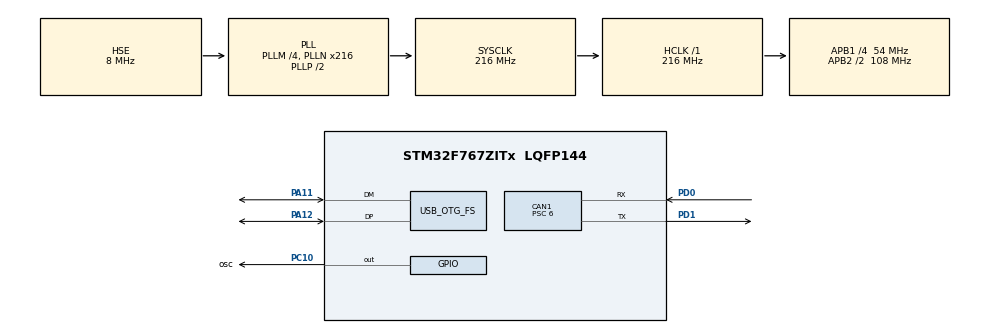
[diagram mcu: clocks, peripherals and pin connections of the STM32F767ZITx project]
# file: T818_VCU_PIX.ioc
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CAN1.BS1=CAN_BS1_15TQ
CAN1.BS2=CAN_BS2_2TQ
CAN1.CalculateBaudRate=500000
CAN1.CalculateTimeBit=2000
CAN1.CalculateTimeQuantum=111.11111111111111
CAN1.NART=ENABLE
CAN1.Prescaler=6
FREERTOS.INCLUDE_vTaskDelayUntil=1
FREERTOS.Tasks01=defaultTask,0,128,StartDefaultTask,Default,NULL,Dynamic,NULL,NULL;updateStateTask,2,1024,StartUpdateStateTask,Default,NULL,Static,updateStateTaskBuffer,updateStateTaskControlBlock;urbTxTask,3,256,StartUrbTxTask,Default,NULL,Static,urbTxTaskBuffer,urbTxTaskControlBlock
FREERTOS.configENABLE_FPU=1
FREERTOS.configUSE_NEWLIB_REENTRANT=1
Mcu.Family=STM32F7
Mcu.Name=STM32F767ZITx
Mcu.Package=LQFP144
NVIC.CAN1_RX0_IRQn=true\:5\:0\:false\:false\:true\:true\:true\:true\:true
NVIC.OTG_FS_IRQn=true\:5\:0\:false\:false\:true\:true\:false\:true\:true
NVIC.PriorityGroup=NVIC_PRIORITYGROUP_4
NVIC.TIM8_TRG_COM_TIM14_IRQn=true\:15\:0\:false\:false\:true\:false\:false\:true\:true
NVIC.TimeBase=TIM8_TRG_COM_TIM14_IRQn
NVIC.TimeBaseIP=TIM14
PA11.Mode=Host_Only
PA11.Signal=USB_OTG_FS_DM
PA12.Mode=Host_Only
PA12.Signal=USB_OTG_FS_DP
PC10.GPIO_Label=osc
PC10.GPIO_Speed=GPIO_SPEED_FREQ_VERY_HIGH
PC10.Signal=GPIO_Output
PD0.Mode=CAN_Activate
PD0.Signal=CAN1_RX
PD1.Mode=CAN_Activate
PD1.Signal=CAN1_TX
PH0/OSC_IN.Mode=HSE-External-Oscillator
PH0/OSC_IN.Signal=RCC_OSC_IN
PH1/OSC_OUT.Mode=HSE-External-Oscillator
PH1/OSC_OUT.Signal=RCC_OSC_OUT
ProjectManager.HeapSize=0x200
ProjectManager.StackSize=0x400
ProjectManager.TargetToolchain=STM32CubeIDE
RCC.48MHZClocksFreq_Value=24000000
RCC.AHBFreq_Value=216000000
RCC.APB1CLKDivider=RCC_HCLK_DIV4
RCC.APB1Freq_Value=54000000
RCC.APB1TimFreq_Value=108000000
RCC.APB2CLKDivider=RCC_HCLK_DIV2
RCC.APB2Freq_Value=108000000
RCC.APB2TimFreq_Value=216000000
RCC.CortexFreq_Value=216000000
RCC.HCLKFreq_Value=216000000
RCC.HSE_VALUE=8000000
RCC.HSI_VALUE=16000000
RCC.LSE_VALUE=32768
RCC.PLLM=4
RCC.PLLMUL=RCC_PLL_MUL9
RCC.PLLN=216
RCC.PLLQ=9
RCC.PRESCALERUSB=RCC_USBCLKSOURCE_PLL_DIV1_5
RCC.SYSCLKFreq_VALUE=216000000
RCC.SYSCLKSource=RCC_SYSCLKSOURCE_PLLCLK
RCC.SYSCLKSourceVirtual=RCC_SYSCLKSOURCE_PLLCLK
RCC.USBFreq_Value=48000000
RCC.VCOOutputFreq_Value=432000000
USB_HOST.SW_VBUS_DRIVE_HID_FS=true
USB_HOST.USBH_DEBUG_LEVEL-HID_FS=3
USB_HOST.USBH_HandleTypeDef-HID_FS=hUsbHostFS
USB_HOST.USBH_USE_OS-HID_FS=0
USB_HOST.VirtualModeFS=Hid
USB_OTG_FS.VirtualMode=Host_Only
USB_OTG_FS.phy_itface=HCD_PHY_EMBEDDED
VP_FREERTOS_VS_CMSIS_V1.Mode=CMSIS_V1
VP_SYS_VS_tim14.Mode=TIM14
VP_USB_HOST_VS_USB_HOST_HID_FS.Mode=HID_FS
board=NUCLEO-F767ZI

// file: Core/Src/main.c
/* USER CODE BEGIN Header */
/**
  ******************************************************************************
  * @file           : main.c
  * @brief          : Main program body
  ******************************************************************************
  * @attention
  *
  * Copyright (c) 2024 STMicroelectronics.
  * All rights reserved.
  *
  * This software is licensed under terms that can be found in the LICENSE file
  * in the root directory of this software component.
  * If no LICENSE file comes with this software, it is provided AS-IS.
  *
  ******************************************************************************
  */
/* USER CODE END Header */
#include "main.h"
#include "cmsis_os.h"
#include "can.h"
#include "usb_host.h"
#include "gpio.h"

/* USER CODE BEGIN Includes */
#include <dbw_kernel.h>
/* USER CODE END Includes */

void SystemClock_Config(void);
void MX_FREERTOS_Init(void);

int main(void)
{

  /* MCU Configuration--------------------------------------------------------*/

  /* Reset of all peripherals, Initializes the Flash interface and the Systick. */
  HAL_Init();

  /* Configure the system clock */
  SystemClock_Config();

  /* Initialize all configured peripherals */
  MX_GPIO_Init();
  MX_CAN1_Init();

  /* Call init function for freertos objects (in cmsis_os2.c) */
  MX_FREERTOS_Init();

  /* Start scheduler */
  osKernelStart();

  /* We should never get here as control is now taken by the scheduler */

  /* Infinite loop */
  while (1)
  {

  }
}

void SystemClock_Config(void)
{
  RCC_OscInitTypeDef RCC_OscInitStruct = {0};
  RCC_ClkInitTypeDef RCC_ClkInitStruct = {0};

  /** Configure the main internal regulator output voltage
  */
  __HAL_RCC_PWR_CLK_ENABLE();
  __HAL_PWR_VOLTAGESCALING_CONFIG(PWR_REGULATOR_VOLTAGE_SCALE1);

  /** Initializes the RCC Oscillators according to the specified parameters
  * in the RCC_OscInitTypeDef structure.
  */
  RCC_OscInitStruct.OscillatorType = RCC_OSCILLATORTYPE_HSE;
  RCC_OscInitStruct.HSEState = RCC_HSE_ON;
  RCC_OscInitStruct.PLL.PLLState = RCC_PLL_ON;
  RCC_OscInitStruct.PLL.PLLSource = RCC_PLLSOURCE_HSE;
  RCC_OscInitStruct.PLL.PLLM = 4;
  RCC_OscInitStruct.PLL.PLLN = 216;
  RCC_OscInitStruct.PLL.PLLP = RCC_PLLP_DIV2;
  RCC_OscInitStruct.PLL.PLLQ = 9;
  RCC_OscInitStruct.PLL.PLLR = 2;
  if (HAL_RCC_OscConfig(&RCC_OscInitStruct) != HAL_OK)
  {
    Error_Handler();
  }

  /** Activate the Over-Drive mode
  */
  if (HAL_PWREx_EnableOverDrive() != HAL_OK)
  {
    Error_Handler();
  }

  /** Initializes the CPU, AHB and APB buses clocks
  */
  RCC_ClkInitStruct.ClockType = RCC_CLOCKTYPE_HCLK|RCC_CLOCKTYPE_SYSCLK
                              |RCC_CLOCKTYPE_PCLK1|RCC_CLOCKTYPE_PCLK2;
  RCC_ClkInitStruct.SYSCLKSource = RCC_SYSCLKSOURCE_PLLCLK;
  RCC_ClkInitStruct.AHBCLKDivider = RCC_SYSCLK_DIV1;
  RCC_ClkInitStruct.APB1CLKDivider = RCC_HCLK_DIV4;
  RCC_ClkInitStruct.APB2CLKDivider = RCC_HCLK_DIV2;

  if (HAL_RCC_ClockConfig(&RCC_ClkInitStruct, FLASH_LATENCY_7) != HAL_OK)
  {
    Error_Handler();
  }
}

void HAL_TIM_PeriodElapsedCallback(TIM_HandleTypeDef *htim)
{
  if (htim->Instance == TIM14) {
    HAL_IncTick();
  }
}

void Error_Handler(void)
{
  /* USER CODE BEGIN Error_Handler_Debug */
  /* User can add his own implementation to report the HAL error return state */
	dbw_kernel_t *dbw_kernel = dbw_kernel_get_instance();
	HAL_CAN_AbortTxRequest(dbw_kernel->can_manager.config->hcan, dbw_kernel->can_manager.auto_control_tx_mailbox);
  //__disable_irq();
  uint8_t can_data[8] = {0x00U};
  auto_control_data_t last_cmd = dbw_kernel->auto_control.auto_control_data;
  float new_speed = 0.0f;
  float new_braking = 1024.0f;
  while (1)
  {
	  new_speed = calculate_new_smoothed_value((float)last_cmd.speed, 0.0f, 1.0f, 25.0f);
	  new_braking = calculate_new_smoothed_value((float)last_cmd.braking, 1024.0f, 40.0f, 1.0f);

	  last_cmd.speed = (uint16_t) new_speed;
	  last_cmd.braking = (uint16_t) new_braking;
	  can_parser_from_auto_control_to_array(last_cmd, can_data);
	  can_manager_auto_control_tx(&dbw_kernel->can_manager, can_data);
	  HAL_Delay(20);
  }
  /* USER CODE END Error_Handler_Debug */
}

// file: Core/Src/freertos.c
/* USER CODE BEGIN Header */
/**
 ******************************************************************************
 * File Name          : freertos.c
 * Description        : Code for freertos applications
 ******************************************************************************
 * @attention
 *
 * Copyright (c) 2024 STMicroelectronics.
 * All rights reserved.
 *
 * This software is licensed under terms that can be found in the LICENSE file
 * in the root directory of this software component.
 * If no LICENSE file comes with this software, it is provided AS-IS.
 *
 ******************************************************************************
 */
/* USER CODE END Header */

#include "FreeRTOS.h"
#include "task.h"
#include "main.h"
#include "cmsis_os.h"

/* USER CODE BEGIN Includes */
#include <dbw_kernel.h>
/* USER CODE END Includes */

/* USER CODE BEGIN Variables */
// Declaration and configurations

/* USER CODE END Variables */
osThreadId defaultTaskHandle;
osThreadId updateStateTaskHandle;
uint32_t updateStateTaskBuffer[ 1024 ];
osStaticThreadDef_t updateStateTaskControlBlock;
osThreadId urbTxTaskHandle;
uint32_t urbTxTaskBuffer[ 256 ];
osStaticThreadDef_t urbTxTaskControlBlock;

/* USER CODE BEGIN FunctionPrototypes */
void USBH_HID_EventCallback(USBH_HandleTypeDef *phost) {
	dbw_kernel_t *dwb_kernel = dbw_kernel_get_instance();
	if (USBH_HID_GetT818Info(dwb_kernel->drive_control.config->t818_host_handle)!= USBH_OK) {
		Error_Handler();
	}

}
#ifdef USE_CAN
void HAL_CAN_RxFifo0MsgPendingCallback(CAN_HandleTypeDef *hcan) {
	dbw_kernel_t *dwb_kernel = dbw_kernel_get_instance();
	HAL_CAN_GetRxMessage(hcan, CAN_RX_FIFO0, &dwb_kernel->can_manager.RxHeader, dwb_kernel->can_manager.rx_data);
}
#endif
/* USER CODE END FunctionPrototypes */

void StartDefaultTask(void const * argument);
void StartUpdateStateTask(void const * argument);
void StartUrbTxTask(void const * argument);

extern void MX_USB_HOST_Init(void);
void MX_FREERTOS_Init(void); /* (MISRA C 2004 rule 8.1) */

/* GetIdleTaskMemory prototype (linked to static allocation support) */
void vApplicationGetIdleTaskMemory( StaticTask_t **ppxIdleTaskTCBBuffer, StackType_t **ppxIdleTaskStackBuffer, uint32_t *pulIdleTaskStackSize );

/* USER CODE BEGIN GET_IDLE_TASK_MEMORY */
static StaticTask_t xIdleTaskTCBBuffer;
static StackType_t xIdleStack[configMINIMAL_STACK_SIZE];

void vApplicationGetIdleTaskMemory(StaticTask_t **ppxIdleTaskTCBBuffer,
		StackType_t **ppxIdleTaskStackBuffer, uint32_t *pulIdleTaskStackSize) {
	*ppxIdleTaskTCBBuffer = &xIdleTaskTCBBuffer;
	*ppxIdleTaskStackBuffer = &xIdleStack[0];
	*pulIdleTaskStackSize = configMINIMAL_STACK_SIZE;
	/* place for user code */
}
/* USER CODE END GET_IDLE_TASK_MEMORY */

void MX_FREERTOS_Init(void) {
  /* USER CODE BEGIN Init */
	if(dbw_kernel_init() != DBW_OK){
		Error_Handler();
	}

  /* USER CODE END Init */

  /* Create the thread(s) */
  /* definition and creation of defaultTask */
  osThreadDef(defaultTask, StartDefaultTask, osPriorityNormal, 0, 128);
  defaultTaskHandle = osThreadCreate(osThread(defaultTask), NULL);

  /* definition and creation of updateStateTask */
  osThreadStaticDef(updateStateTask, StartUpdateStateTask, osPriorityHigh, 0, 1024, updateStateTaskBuffer, &updateStateTaskControlBlock);
  updateStateTaskHandle = osThreadCreate(osThread(updateStateTask), NULL);

  /* definition and creation of urbTxTask */
  osThreadStaticDef(urbTxTask, StartUrbTxTask, osPriorityRealtime, 0, 256, urbTxTaskBuffer, &urbTxTaskControlBlock);
  urbTxTaskHandle = osThreadCreate(osThread(urbTxTask), NULL);

}

void StartDefaultTask(void const * argument)
{
  /* init code for USB_HOST */
  MX_USB_HOST_Init();
	for (;;) {
		osDelay(1);
	}
}

void StartUpdateStateTask(void const * argument)
{
  /* USER CODE BEGIN StartUpdateStateTask */
	const TickType_t xFrequency = pdMS_TO_TICKS(UPDATE_STATE_PERIOD_MS); //TASK PERIOD
	TickType_t xLastWakeTime;
	// Initialize xLastWakeTime with the current time
	xLastWakeTime = xTaskGetTickCount();
	/* Infinite loop */
	for (;;) {
		vTaskDelayUntil(&xLastWakeTime, xFrequency);
        if (dbw_kernel_update_state_step() != DBW_OK) {
            Error_Handler();
        }
	}
  /* USER CODE END StartUpdateStateTask */
}

void StartUrbTxTask(void const * argument)
{
  /* USER CODE BEGIN StartUrbTxTask */
    const TickType_t xFrequency = pdMS_TO_TICKS(URB_TX_PERIOD_MS); //TASK PERIOD
    TickType_t xLastWakeTime;

    // Initialize xLastWakeTime with the current time
    xLastWakeTime = xTaskGetTickCount();
    /* Infinite loop */
    for (;;) {
        vTaskDelayUntil(&xLastWakeTime, xFrequency);
        if (dbw_kernel_urb_tx_step() != DBW_OK) {
            Error_Handler();
        }
    }
  /* USER CODE END StartUrbTxTask */
}
